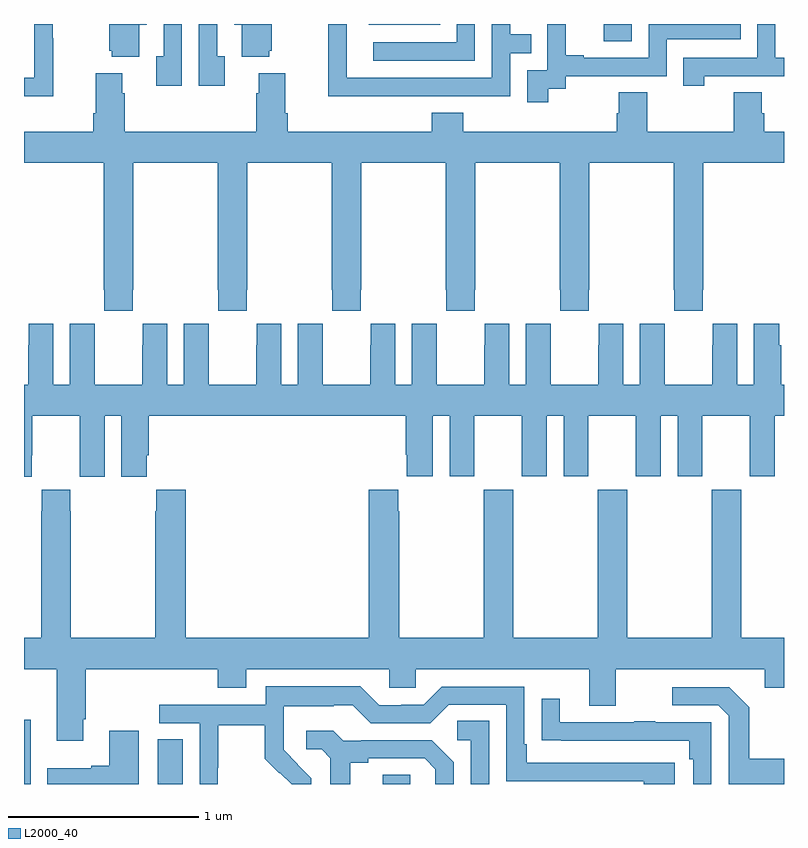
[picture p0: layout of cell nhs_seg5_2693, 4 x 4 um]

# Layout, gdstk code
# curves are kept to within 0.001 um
import gdstk
lib = gdstk.Library(unit=1e-6, precision=1e-09)
def R(c, l, rs):  # rectangles x0, y0, x1, y1
    for r in rs: c.add(gdstk.rectangle(r[:2], r[2:], *l))
def P(c, l, *ps):  # polygons
    for p in ps: c.add(gdstk.Polygon(p, *l))
L2000_40 = (2000, 40)

nhs_seg5_2693 = lib.new_cell('nhs_seg5_2693')
R(nhs_seg5_2693, L2000_40, [(267,878.799,267.036,879.136), (267.704,878.799,267.835,879.035), (268.889,878.799,269.034,878.849), (270.051,882.708,270.198,882.799), (268.814,882.794,269.192,882.799)])
P(nhs_seg5_2693, L2000_40, [(267.607,882.794),(267.646,882.794),(267.646,882.799),(267.449,882.799),(267.449,882.657),(267.461,882.657),(267.461,882.626),(267.607,882.626)],
  [(269.373,882.799),(269.277,882.799),(269.277,882.702),(268.839,882.702),(268.839,882.606),(269.373,882.606)],
  [(269.758,882.457),(269.85,882.457),(269.85,882.525),(270.384,882.525),(270.384,882.72),(270.773,882.72),(270.773,882.799),(270.288,882.799),(270.288,882.621),(269.947,882.621),(269.947,882.634),(269.852,882.634),(269.852,882.799),(269.753,882.799),(269.753,882.785),(269.754,882.785),(269.754,882.555),(269.649,882.555),(269.649,882.387),(269.758,882.387)],
  [(267.153,882.725),(267.15,882.725),(267.15,882.799),(267.054,882.799),(267.054,882.516),(267,882.516),(267,882.419),(267.153,882.419)],
  [(267.831,882.799),(267.735,882.799),(267.735,882.63),(267.695,882.63),(267.695,882.474),(267.831,882.474)],
  [(268.057,882.63),(268.017,882.63),(268.017,882.799),(267.921,882.799),(267.921,882.474),(268.057,882.474)],
  [(268.292,882.657),(268.303,882.657),(268.303,882.799),(268.106,882.799),(268.106,882.794),(268.145,882.794),(268.145,882.626),(268.292,882.626)],
  [(270.58,882.525),(271,882.525),(271,882.621),(270.954,882.621),(270.954,882.799),(270.858,882.799),(270.858,882.621),(270.469,882.621),(270.469,882.474),(270.58,882.474)],
  [(269.063,882.42),(269.559,882.42),(269.559,882.645),(269.669,882.645),(269.669,882.746),(269.559,882.746),(269.559,882.799),(269.463,882.799),(269.463,882.516),(268.698,882.516),(268.698,882.799),(268.602,882.799),(268.602,882.725),(268.6,882.725),(268.6,882.419),(269.063,882.419)],
  [(267.573,881.401),(267.576,881.401),(267.576,882.068),(268.021,882.068),(268.021,881.401),(268.023,881.401),(268.023,881.289),(268.173,881.289),(268.173,881.401),(268.176,881.401),(268.176,882.068),(268.621,882.068),(268.621,881.401),(268.623,881.401),(268.623,881.289),(268.773,881.289),(268.773,881.401),(268.776,881.401),(268.776,882.068),(269.221,882.068),(269.221,881.401),(269.223,881.401),(269.223,881.289),(269.373,881.289),(269.373,881.401),(269.376,881.401),(269.376,882.068),(269.821,882.068),(269.821,881.401),(269.823,881.401),(269.823,881.289),(269.973,881.289),(269.973,881.401),(269.976,881.401),(269.976,882.068),(270.421,882.068),(270.421,881.401),(270.423,881.401),(270.423,881.289),(270.573,881.289),(270.573,881.401),(270.576,881.401),(270.576,882.068),(271,882.068),(271,882.232),(270.896,882.232),(270.896,882.33),(270.883,882.33),(270.883,882.44),(270.736,882.44),(270.736,882.232),(270.279,882.232),(270.279,882.44),(270.131,882.44),(270.131,882.33),(270.119,882.33),(270.119,882.232),(269.312,882.232),(269.312,882.331),(269.147,882.331),(269.147,882.232),(268.388,882.232),(268.388,882.328),(268.375,882.328),(268.375,882.541),(268.235,882.541),(268.235,882.434),(268.223,882.434),(268.223,882.232),(267.53,882.232),(267.53,882.434),(267.517,882.434),(267.517,882.541),(267.377,882.541),(267.377,882.328),(267.365,882.328),(267.365,882.232),(267,882.232),(267,882.068),(267.421,882.068),(267.421,881.401),(267.423,881.401),(267.423,881.289),(267.573,881.289)],
  [(270.154,881.221),(270.024,881.221),(270.024,881.108),(270.023,881.108),(270.023,880.9),(269.773,880.9),(269.773,881.108),(269.772,881.108),(269.772,881.221),(269.642,881.221),(269.642,880.9),(269.554,880.9),(269.554,881.221),(269.424,881.221),(269.424,881.108),(269.423,881.108),(269.423,880.9),(269.173,880.9),(269.173,881.108),(269.172,881.108),(269.172,881.221),(269.042,881.221),(269.042,880.9),(268.954,880.9),(268.954,881.221),(268.824,881.221),(268.824,881.108),(268.823,881.108),(268.823,880.9),(268.573,880.9),(268.573,881.108),(268.572,881.108),(268.572,881.221),(268.442,881.221),(268.442,880.9),(268.354,880.9),(268.354,881.221),(268.224,881.221),(268.224,881.108),(268.223,881.108),(268.223,880.9),(267.973,880.9),(267.973,881.108),(267.972,881.108),(267.972,881.221),(267.842,881.221),(267.842,880.9),(267.754,880.9),(267.754,881.221),(267.624,881.221),(267.624,881.108),(267.623,881.108),(267.623,880.9),(267.373,880.9),(267.373,881.108),(267.372,881.108),(267.372,881.221),(267.242,881.221),(267.242,880.9),(267.154,880.9),(267.154,881.221),(267.024,881.221),(267.024,881.108),(267.023,881.108),(267.023,880.9),(267,880.9),(267,880.416),(267.042,880.416),(267.042,880.528),(267.043,880.528),(267.043,880.736),(267.293,880.736),(267.293,880.528),(267.294,880.528),(267.294,880.416),(267.424,880.416),(267.424,880.736),(267.512,880.736),(267.512,880.416),(267.646,880.416),(267.646,880.528),(267.656,880.528),(267.656,880.736),(269.009,880.736),(269.009,880.531),(269.015,880.531),(269.015,880.419),(269.152,880.419),(269.152,880.736),(269.24,880.736),(269.24,880.419),(269.371,880.419),(269.371,880.736),(269.621,880.736),(269.621,880.419),(269.752,880.419),(269.752,880.736),(269.84,880.736),(269.84,880.419),(269.971,880.419),(269.971,880.736),(270.221,880.736),(270.221,880.419),(270.352,880.419),(270.352,880.736),(270.44,880.736),(270.44,880.419),(270.571,880.419),(270.571,880.736),(270.821,880.736),(270.821,880.419),(270.952,880.419),(270.952,880.736),(271,880.736),(271,880.9),(270.986,880.9),(270.986,881.108),(270.976,881.108),(270.976,881.221),(270.842,881.221),(270.842,880.9),(270.754,880.9),(270.754,881.221),(270.624,881.221),(270.624,881.108),(270.623,881.108),(270.623,880.9),(270.373,880.9),(270.373,881.108),(270.372,881.108),(270.372,881.221),(270.242,881.221),(270.242,880.9),(270.154,880.9)],
  [(270.774,880.348),(270.619,880.348),(270.619,879.568),(270.174,879.568),(270.174,880.348),(270.019,880.348),(270.019,879.568),(269.574,879.568),(269.574,880.348),(269.419,880.348),(269.419,879.568),(268.974,879.568),(268.974,880.235),(268.969,880.235),(268.969,880.348),(268.814,880.348),(268.814,879.568),(267.851,879.568),(267.851,880.348),(267.697,880.348),(267.697,880.235),(267.691,880.235),(267.691,879.568),(267.246,879.568),(267.246,880.235),(267.243,880.235),(267.243,880.348),(267.093,880.348),(267.093,880.235),(267.091,880.235),(267.091,879.568),(267,879.568),(267,879.404),(267.173,879.404),(267.173,879.027),(267.313,879.027),(267.313,879.139),(267.326,879.139),(267.326,879.404),(268.019,879.404),(268.019,879.305),(268.171,879.305),(268.171,879.404),(268.923,879.404),(268.923,879.306),(269.061,879.306),(269.061,879.404),(269.975,879.404),(269.975,879.21),(270.115,879.21),(270.115,879.404),(270.899,879.404),(270.899,879.305),(271,879.305),(271,879.568),(270.774,879.568)],
  [(268.02,878.884),(268.023,878.884),(268.023,879.108),(268.267,879.108),(268.267,878.933),(268.344,878.856),(268.347,878.859),(268.408,878.799),(268.512,878.799),(268.512,878.83),(268.366,878.978),(268.366,879.075),(268.368,879.075),(268.368,879.209),(268.631,879.209),(268.631,879.213),(268.731,879.213),(268.824,879.12),(269.139,879.12),(269.235,879.216),(269.538,879.216),(269.538,878.814),(270.263,878.814),(270.263,878.799),(270.424,878.799),(270.424,878.91),(269.647,878.91),(269.647,879.007),(269.634,879.007),(269.634,879.312),(269.199,879.312),(269.103,879.216),(268.985,879.216),(268.985,879.213),(268.869,879.213),(268.769,879.313),(268.272,879.313),(268.272,879.216),(267.711,879.216),(267.711,879.12),(267.924,879.12),(267.924,878.799),(268.02,878.799)],
  [(271,878.931),(270.817,878.931),(270.817,879.203),(270.711,879.309),(270.411,879.309),(270.411,879.213),(270.654,879.213),(270.708,879.159),(270.708,878.799),(271,878.799)],
  [(270.618,879.123),(270.323,879.123),(270.323,879.128),(270.211,879.128),(270.211,879.123),(269.821,879.123),(269.821,879.247),(269.725,879.247),(269.725,879.028),(269.827,879.028),(269.827,879.027),(270.502,879.027),(270.502,878.93),(270.522,878.93),(270.522,878.799),(270.618,878.799)],
  [(269.448,879.131),(269.28,879.131),(269.28,879.03),(269.352,879.03),(269.352,878.799),(269.448,878.799)],
  [(268.717,878.912),(268.813,878.912),(268.813,878.934),(269.108,878.934),(269.165,878.877),(269.165,878.799),(269.262,878.799),(269.262,878.914),(269.146,879.03),(268.774,879.03),(268.774,879.027),(268.68,879.027),(268.628,879.079),(268.485,879.079),(268.485,878.982),(268.566,878.982),(268.613,878.935),(268.613,878.799),(268.717,878.799)],
  [(267.604,879.079),(267.449,879.079),(267.449,878.894),(267.353,878.894),(267.353,878.881),(267.123,878.881),(267.123,878.799),(267.604,878.799)])

lib.write_gds('nhs_seg5_2693.gds')
